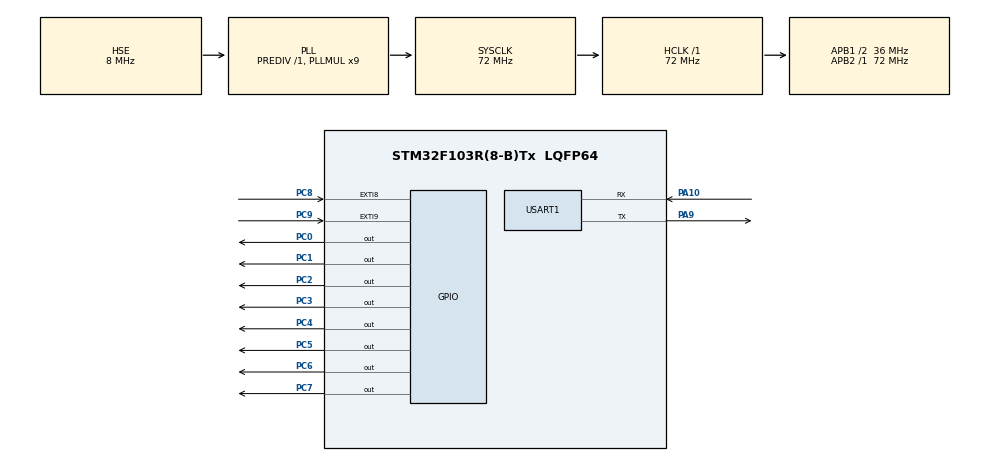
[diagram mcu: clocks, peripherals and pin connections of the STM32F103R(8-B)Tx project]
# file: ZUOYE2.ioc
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Mcu.Family=STM32F1
Mcu.Name=STM32F103R(8-B)Tx
Mcu.Package=LQFP64
NVIC.EXTI9_5_IRQn=true\:0\:0\:false\:false\:true\:true\:true\:true
NVIC.PriorityGroup=NVIC_PRIORITYGROUP_4
NVIC.USART1_IRQn=true\:1\:0\:true\:false\:true\:true\:true\:true
PA10.Mode=Asynchronous
PA10.Signal=USART1_RX
PA13.Mode=Serial_Wire
PA13.Signal=SYS_JTMS-SWDIO
PA14.Mode=Serial_Wire
PA14.Signal=SYS_JTCK-SWCLK
PA9.Mode=Asynchronous
PA9.Signal=USART1_TX
PC0.PinState=GPIO_PIN_SET
PC0.Signal=GPIO_Output
PC1.PinState=GPIO_PIN_SET
PC1.Signal=GPIO_Output
PC2.PinState=GPIO_PIN_SET
PC2.Signal=GPIO_Output
PC3.PinState=GPIO_PIN_SET
PC3.Signal=GPIO_Output
PC4.PinState=GPIO_PIN_SET
PC4.Signal=GPIO_Output
PC5.PinState=GPIO_PIN_SET
PC5.Signal=GPIO_Output
PC6.PinState=GPIO_PIN_SET
PC6.Signal=GPIO_Output
PC7.PinState=GPIO_PIN_SET
PC7.Signal=GPIO_Output
PC8.GPIO_ModeDefaultEXTI=GPIO_MODE_IT_FALLING
PC8.GPIO_PuPd=GPIO_PULLUP
PC8.Signal=GPXTI8
PC9.GPIO_ModeDefaultEXTI=GPIO_MODE_IT_FALLING
PC9.GPIO_PuPd=GPIO_PULLUP
PC9.Signal=GPXTI9
PD0-OSC_IN.Mode=HSE-External-Oscillator
PD0-OSC_IN.Signal=RCC_OSC_IN
PD1-OSC_OUT.Mode=HSE-External-Oscillator
PD1-OSC_OUT.Signal=RCC_OSC_OUT
ProjectManager.HeapSize=0x200
ProjectManager.StackSize=0x400
ProjectManager.TargetToolchain=MDK-ARM V5.32
RCC.AHBFreq_Value=72000000
RCC.APB1CLKDivider=RCC_HCLK_DIV2
RCC.APB1Freq_Value=36000000
RCC.APB1TimFreq_Value=72000000
RCC.APB2Freq_Value=72000000
RCC.APB2TimFreq_Value=72000000
RCC.HCLKFreq_Value=72000000
RCC.PLLMUL=RCC_PLL_MUL9
RCC.PLLSourceVirtual=RCC_PLLSOURCE_HSE
RCC.SYSCLKFreq_VALUE=72000000
RCC.SYSCLKSource=RCC_SYSCLKSOURCE_PLLCLK
RCC.USBFreq_Value=72000000
USART1.VirtualMode=VM_ASYNC
board=custom

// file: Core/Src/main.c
/* USER CODE BEGIN Header */
/**
  ******************************************************************************
  * @file           : main.c
  * @brief          : Main program body
  ******************************************************************************
  * @attention
  *
  * Copyright (c) 2023 STMicroelectronics.
  * All rights reserved.
  *
  * This software is licensed under terms that can be found in the LICENSE file
  * in the root directory of this software component.
  * If no LICENSE file comes with this software, it is provided AS-IS.
  *
  ******************************************************************************
  */
/* USER CODE END Header */
#include "main.h"
#include "usart.h"
#include "gpio.h"

/* USER CODE BEGIN Includes */
uint8_t Tx_str1[]="UART TEST\r\n";
uint8_t Tx_str2[]="START\r\n";
uint8_t Tx_str3[]="STOP\r\n";
uint8_t Tx_str4[]="ERROR\r\n";
uint8_t Tx_str5[]="偶\r\n";
uint8_t Tx_str6[]="奇\r\n";
uint8_t Rx_data=0;

//宏定义8个灯输出函数
#define LED0_ON()  HAL_GPIO_WritePin (GPIOC ,GPIO_PIN_0 ,GPIO_PIN_RESET)
#define LED0_OFF() HAL_GPIO_WritePin (GPIOC ,GPIO_PIN_0 ,GPIO_PIN_SET)

#define LED1_ON()  HAL_GPIO_WritePin (GPIOC ,GPIO_PIN_1 ,GPIO_PIN_RESET)
#define LED1_OFF() HAL_GPIO_WritePin (GPIOC ,GPIO_PIN_1 ,GPIO_PIN_SET)

#define LED2_ON()  HAL_GPIO_WritePin (GPIOC ,GPIO_PIN_2 ,GPIO_PIN_RESET)
#define LED2_OFF() HAL_GPIO_WritePin (GPIOC ,GPIO_PIN_2 ,GPIO_PIN_SET)

#define LED3_ON()  HAL_GPIO_WritePin (GPIOC ,GPIO_PIN_3,GPIO_PIN_RESET)
#define LED3_OFF() HAL_GPIO_WritePin (GPIOC ,GPIO_PIN_3 ,GPIO_PIN_SET)

#define LED4_ON()  HAL_GPIO_WritePin (GPIOC ,GPIO_PIN_4 ,GPIO_PIN_RESET)
#define LED4_OFF() HAL_GPIO_WritePin (GPIOC ,GPIO_PIN_4 ,GPIO_PIN_SET)

#define LED5_ON()  HAL_GPIO_WritePin (GPIOC ,GPIO_PIN_5 ,GPIO_PIN_RESET)
#define LED5_OFF() HAL_GPIO_WritePin (GPIOC ,GPIO_PIN_5 ,GPIO_PIN_SET)

#define LED6_ON()  HAL_GPIO_WritePin (GPIOC ,GPIO_PIN_6 ,GPIO_PIN_RESET)
#define LED6_OFF() HAL_GPIO_WritePin (GPIOC ,GPIO_PIN_6 ,GPIO_PIN_SET)

#define LED7_ON()  HAL_GPIO_WritePin (GPIOC ,GPIO_PIN_7 ,GPIO_PIN_RESET)
#define LED7_OFF() HAL_GPIO_WritePin (GPIOC ,GPIO_PIN_7 ,GPIO_PIN_SET)

//宏定义8个灯的翻转函数
#define LED0_Tog() HAL_GPIO_TogglePin(GPIOC,GPIO_PIN_0)
#define LED1_Tog() HAL_GPIO_TogglePin(GPIOC,GPIO_PIN_1)
#define LED2_Tog() HAL_GPIO_TogglePin(GPIOC,GPIO_PIN_2)
#define LED3_Tog() HAL_GPIO_TogglePin(GPIOC,GPIO_PIN_3)
#define LED4_Tog() HAL_GPIO_TogglePin(GPIOC,GPIO_PIN_4)
#define LED5_Tog() HAL_GPIO_TogglePin(GPIOC,GPIO_PIN_5)
#define LED6_Tog() HAL_GPIO_TogglePin(GPIOC,GPIO_PIN_6)
#define LED7_Tog() HAL_GPIO_TogglePin(GPIOC,GPIO_PIN_7)
//宏定义8个灯和按键输入函数
#define LED0_Read()  HAL_GPIO_ReadPin(GPIOC,GPIO_PIN_0 )
#define LED1_Read()  HAL_GPIO_ReadPin(GPIOC,GPIO_PIN_1 )
#define LED2_Read()  HAL_GPIO_ReadPin(GPIOC,GPIO_PIN_2 )
#define LED3_Read()  HAL_GPIO_ReadPin(GPIOC,GPIO_PIN_3 )
#define LED4_Read()  HAL_GPIO_ReadPin(GPIOC,GPIO_PIN_4 )
#define LED5_Read()  HAL_GPIO_ReadPin(GPIOC,GPIO_PIN_5 )
#define LED6_Read()  HAL_GPIO_ReadPin(GPIOC,GPIO_PIN_6 )
#define LED7_Read()  HAL_GPIO_ReadPin(GPIOC,GPIO_PIN_7 )
#define key0()  HAL_GPIO_ReadPin(GPIOC,GPIO_PIN_8 )
#define key1()  HAL_GPIO_ReadPin(GPIOC,GPIO_PIN_9 )
#define key2()  HAL_GPIO_ReadPin(GPIOD,GPIO_PIN_2 )

int t=0;
int m=0;
void HAL_GPIO_EXTI_Callback(uint16_t GPIO_Pin){
	  if(GPIO_Pin==GPIO_PIN_9){
			  t++;
		      m=0;
		  }
	  if(t>2){
		  t=1;
	  }
	  if(GPIO_Pin==GPIO_PIN_8){
			  m++;
		  }
	  if(m>2){
		  m=1;
	  }
	  if(m==1){
		  HAL_UART_Transmit (&huart1 ,Tx_str2,sizeof (Tx_str2),1000);
	  }
	  if(m==2){
		  HAL_UART_Transmit (&huart1 ,Tx_str3,sizeof(Tx_str3),1000);
	  }
  }
//定义跑马灯函数
void PMD(){
			LED0_ON() ;
			HAL_Delay(500);
			LED0_OFF();

		    LED1_ON() ;
			HAL_Delay(500);
			LED1_OFF();

			LED2_ON() ;
			HAL_Delay(500);
			LED2_OFF();

			LED3_ON() ;
			HAL_Delay(500);
			LED3_OFF();

			LED4_ON() ;
			HAL_Delay(500);
			LED4_OFF();

			LED5_ON() ;
			HAL_Delay(500);
			LED5_OFF();

			LED6_ON() ;
			HAL_Delay(500);
			LED6_OFF();

			LED7_ON() ;
			HAL_Delay(500);
			LED7_OFF();
}

void DMP(){
			LED7_ON() ;
			HAL_Delay(500);
			LED7_OFF();

		    LED6_ON() ;
			HAL_Delay(500);
			LED6_OFF();

			LED5_ON() ;
			HAL_Delay(500);
			LED5_OFF();

			LED4_ON() ;
			HAL_Delay(500);
			LED4_OFF();

			LED3_ON() ;
			HAL_Delay(500);
			LED3_OFF();

			LED2_ON() ;
			HAL_Delay(500);
			LED2_OFF();

			LED1_ON() ;
			HAL_Delay(500);
			LED1_OFF();

			LED0_ON() ;
			HAL_Delay(500);
			LED0_OFF();
}
void HAL_UART_RxCpltCallback(UART_HandleTypeDef *huart){
	if(huart->Instance==USART1 ){
		if((Rx_data-'0')%2==0){
			HAL_UART_Transmit (&huart1 ,Tx_str5,sizeof (Tx_str5),10000);
//			HAL_UART_Receive_IT(&huart1 ,&Rx_data,1);
		}
		if((Rx_data-'0')%2==1){
			HAL_UART_Transmit (&huart1 ,Tx_str6,sizeof (Tx_str6),10000);
			HAL_UART_Receive_IT(&huart1 ,&Rx_data,1);
		}
		Rx_data=0;
		HAL_UART_Receive_IT(&huart1 ,&Rx_data,1);
	}
}
/* USER CODE END Includes */

void SystemClock_Config(void);

int main(void)
{

  /* MCU Configuration--------------------------------------------------------*/

  /* Reset of all peripherals, Initializes the Flash interface and the Systick. */
  HAL_Init();

  /* Configure the system clock */
  SystemClock_Config();

  /* Initialize all configured peripherals */
  MX_GPIO_Init();
  MX_USART1_UART_Init();
  /* USER CODE BEGIN 2 */
	HAL_UART_Transmit (&huart1 ,Tx_str1,sizeof (Tx_str1),10000);
	HAL_UART_Receive_IT (&huart1 ,&Rx_data,1);

  /* USER CODE END 2 */

  /* Infinite loop */
  while (1)
  {

    /* USER CODE BEGIN 3 */
	  switch(m){
		  case 0:
			  break ;
		  case 1:
			 PMD ();
		     break;
		  case 2:
		     HAL_GPIO_WritePin(GPIOC, GPIO_PIN_0|GPIO_PIN_1|GPIO_PIN_2|GPIO_PIN_3
                          |GPIO_PIN_4|GPIO_PIN_5|GPIO_PIN_6|GPIO_PIN_7, GPIO_PIN_SET);
		     break;
		  default:
			 HAL_UART_Transmit (&huart1 ,Tx_str4,sizeof (Tx_str4),10000);
	  }

	  switch(t){
		  case 0:
			  break ;
		  case 1:
			 PMD ();
		     break;
		  case 2:
			 DMP ();
		     break;
		  default:
			 HAL_UART_Transmit (&huart1 ,Tx_str4,sizeof (Tx_str4),10000);
	  }

  }
  /* USER CODE END 3 */
}

void SystemClock_Config(void)
{
  RCC_OscInitTypeDef RCC_OscInitStruct = {0};
  RCC_ClkInitTypeDef RCC_ClkInitStruct = {0};

  /** Initializes the RCC Oscillators according to the specified parameters
  * in the RCC_OscInitTypeDef structure.
  */
  RCC_OscInitStruct.OscillatorType = RCC_OSCILLATORTYPE_HSE;
  RCC_OscInitStruct.HSEState = RCC_HSE_ON;
  RCC_OscInitStruct.HSEPredivValue = RCC_HSE_PREDIV_DIV1;
  RCC_OscInitStruct.HSIState = RCC_HSI_ON;
  RCC_OscInitStruct.PLL.PLLState = RCC_PLL_ON;
  RCC_OscInitStruct.PLL.PLLSource = RCC_PLLSOURCE_HSE;
  RCC_OscInitStruct.PLL.PLLMUL = RCC_PLL_MUL9;
  if (HAL_RCC_OscConfig(&RCC_OscInitStruct) != HAL_OK)
  {
    Error_Handler();
  }

  /** Initializes the CPU, AHB and APB buses clocks
  */
  RCC_ClkInitStruct.ClockType = RCC_CLOCKTYPE_HCLK|RCC_CLOCKTYPE_SYSCLK
                              |RCC_CLOCKTYPE_PCLK1|RCC_CLOCKTYPE_PCLK2;
  RCC_ClkInitStruct.SYSCLKSource = RCC_SYSCLKSOURCE_PLLCLK;
  RCC_ClkInitStruct.AHBCLKDivider = RCC_SYSCLK_DIV1;
  RCC_ClkInitStruct.APB1CLKDivider = RCC_HCLK_DIV2;
  RCC_ClkInitStruct.APB2CLKDivider = RCC_HCLK_DIV1;

  if (HAL_RCC_ClockConfig(&RCC_ClkInitStruct, FLASH_LATENCY_2) != HAL_OK)
  {
    Error_Handler();
  }
}

void Error_Handler(void)
{
  __disable_irq();
  while (1)
  {
  }
}
